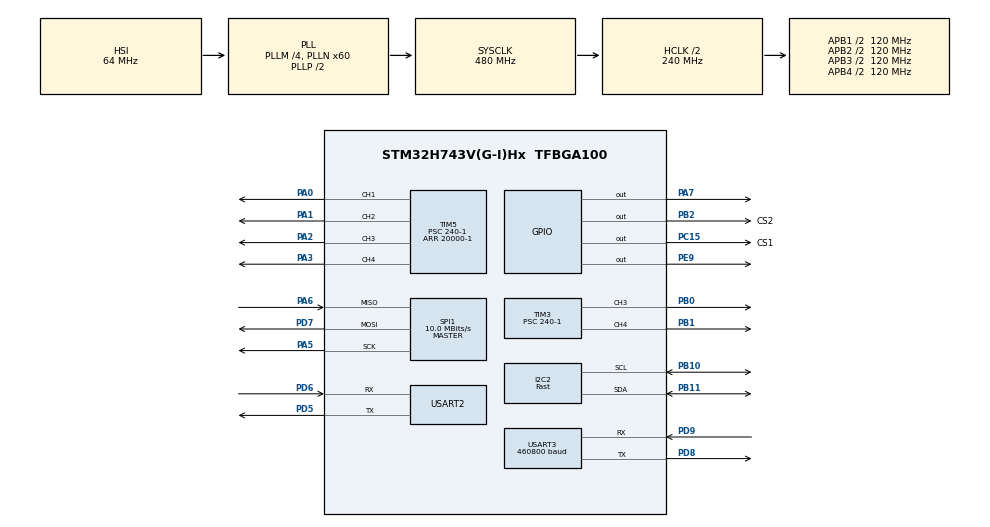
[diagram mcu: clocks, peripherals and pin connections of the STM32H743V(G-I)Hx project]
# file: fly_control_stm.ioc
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CORTEX_M7.default_mode_Activation=1
Dma.I2C2_RX.2.Direction=DMA_PERIPH_TO_MEMORY
Dma.I2C2_RX.2.EventEnable=DISABLE
Dma.I2C2_RX.2.FIFOMode=DMA_FIFOMODE_DISABLE
Dma.I2C2_RX.2.Instance=DMA1_Stream0
Dma.I2C2_RX.2.MemDataAlignment=DMA_MDATAALIGN_BYTE
Dma.I2C2_RX.2.MemInc=DMA_MINC_ENABLE
Dma.I2C2_RX.2.Mode=DMA_NORMAL
Dma.I2C2_RX.2.PeriphDataAlignment=DMA_PDATAALIGN_BYTE
Dma.I2C2_RX.2.PeriphInc=DMA_PINC_DISABLE
Dma.I2C2_RX.2.Polarity=HAL_DMAMUX_REQ_GEN_RISING
Dma.I2C2_RX.2.Priority=DMA_PRIORITY_MEDIUM
Dma.I2C2_RX.2.RequestNumber=1
Dma.I2C2_RX.2.SignalID=NONE
Dma.I2C2_RX.2.SyncEnable=DISABLE
Dma.I2C2_RX.2.SyncPolarity=HAL_DMAMUX_SYNC_NO_EVENT
Dma.I2C2_RX.2.SyncRequestNumber=1
Dma.I2C2_RX.2.SyncSignalID=NONE
Dma.I2C2_TX.3.Direction=DMA_MEMORY_TO_PERIPH
Dma.I2C2_TX.3.EventEnable=DISABLE
Dma.I2C2_TX.3.FIFOMode=DMA_FIFOMODE_DISABLE
Dma.I2C2_TX.3.Instance=DMA1_Stream1
Dma.I2C2_TX.3.MemDataAlignment=DMA_MDATAALIGN_BYTE
Dma.I2C2_TX.3.MemInc=DMA_MINC_ENABLE
Dma.I2C2_TX.3.Mode=DMA_NORMAL
Dma.I2C2_TX.3.PeriphDataAlignment=DMA_PDATAALIGN_BYTE
Dma.I2C2_TX.3.PeriphInc=DMA_PINC_DISABLE
Dma.I2C2_TX.3.Polarity=HAL_DMAMUX_REQ_GEN_RISING
Dma.I2C2_TX.3.Priority=DMA_PRIORITY_MEDIUM
Dma.I2C2_TX.3.RequestNumber=1
Dma.I2C2_TX.3.SignalID=NONE
Dma.I2C2_TX.3.SyncEnable=DISABLE
Dma.I2C2_TX.3.SyncPolarity=HAL_DMAMUX_SYNC_NO_EVENT
Dma.I2C2_TX.3.SyncRequestNumber=1
Dma.I2C2_TX.3.SyncSignalID=NONE
Dma.Request0=USART3_RX
Dma.Request1=USART3_TX
Dma.Request2=I2C2_RX
Dma.Request3=I2C2_TX
Dma.Request4=USART2_RX
Dma.USART2_RX.4.Direction=DMA_PERIPH_TO_MEMORY
Dma.USART2_RX.4.EventEnable=DISABLE
Dma.USART2_RX.4.FIFOMode=DMA_FIFOMODE_DISABLE
Dma.USART2_RX.4.Instance=DMA1_Stream2
Dma.USART2_RX.4.MemDataAlignment=DMA_MDATAALIGN_BYTE
Dma.USART2_RX.4.MemInc=DMA_MINC_ENABLE
Dma.USART2_RX.4.Mode=DMA_CIRCULAR
Dma.USART2_RX.4.PeriphDataAlignment=DMA_PDATAALIGN_BYTE
Dma.USART2_RX.4.PeriphInc=DMA_PINC_DISABLE
Dma.USART2_RX.4.Polarity=HAL_DMAMUX_REQ_GEN_RISING
Dma.USART2_RX.4.Priority=DMA_PRIORITY_HIGH
Dma.USART2_RX.4.RequestNumber=1
Dma.USART2_RX.4.SignalID=NONE
Dma.USART2_RX.4.SyncEnable=DISABLE
Dma.USART2_RX.4.SyncPolarity=HAL_DMAMUX_SYNC_NO_EVENT
Dma.USART2_RX.4.SyncRequestNumber=1
Dma.USART2_RX.4.SyncSignalID=NONE
Dma.USART3_RX.0.Direction=DMA_PERIPH_TO_MEMORY
Dma.USART3_RX.0.EventEnable=DISABLE
Dma.USART3_RX.0.FIFOMode=DMA_FIFOMODE_DISABLE
Dma.USART3_RX.0.Instance=DMA1_Stream5
Dma.USART3_RX.0.MemDataAlignment=DMA_MDATAALIGN_BYTE
Dma.USART3_RX.0.MemInc=DMA_MINC_ENABLE
Dma.USART3_RX.0.Mode=DMA_CIRCULAR
Dma.USART3_RX.0.PeriphDataAlignment=DMA_PDATAALIGN_BYTE
Dma.USART3_RX.0.PeriphInc=DMA_PINC_DISABLE
Dma.USART3_RX.0.Polarity=HAL_DMAMUX_REQ_GEN_RISING
Dma.USART3_RX.0.Priority=DMA_PRIORITY_VERY_HIGH
Dma.USART3_RX.0.RequestNumber=1
Dma.USART3_RX.0.SignalID=NONE
Dma.USART3_RX.0.SyncEnable=DISABLE
Dma.USART3_RX.0.SyncPolarity=HAL_DMAMUX_SYNC_NO_EVENT
Dma.USART3_RX.0.SyncRequestNumber=1
Dma.USART3_RX.0.SyncSignalID=NONE
Dma.USART3_TX.1.Direction=DMA_MEMORY_TO_PERIPH
Dma.USART3_TX.1.EventEnable=DISABLE
Dma.USART3_TX.1.FIFOMode=DMA_FIFOMODE_DISABLE
Dma.USART3_TX.1.Instance=DMA1_Stream6
Dma.USART3_TX.1.MemDataAlignment=DMA_MDATAALIGN_BYTE
Dma.USART3_TX.1.MemInc=DMA_MINC_ENABLE
Dma.USART3_TX.1.Mode=DMA_NORMAL
Dma.USART3_TX.1.PeriphDataAlignment=DMA_PDATAALIGN_BYTE
Dma.USART3_TX.1.PeriphInc=DMA_PINC_DISABLE
Dma.USART3_TX.1.Polarity=HAL_DMAMUX_REQ_GEN_RISING
Dma.USART3_TX.1.Priority=DMA_PRIORITY_LOW
Dma.USART3_TX.1.RequestNumber=1
Dma.USART3_TX.1.SignalID=NONE
Dma.USART3_TX.1.SyncEnable=DISABLE
Dma.USART3_TX.1.SyncPolarity=HAL_DMAMUX_SYNC_NO_EVENT
Dma.USART3_TX.1.SyncRequestNumber=1
Dma.USART3_TX.1.SyncSignalID=NONE
FREERTOS.Tasks01=defaultTask,0,128,StartDefaultTask,Default,NULL,Dynamic,NULL,NULL
I2C2.I2C_Speed_Mode=I2C_Fast
I2C2.Timing=0x00B03FDB
Mcu.Family=STM32H7
Mcu.Name=STM32H743V(G-I)Hx
Mcu.Package=TFBGA100
NVIC.DMA1_Stream0_IRQn=true\:5\:0\:false\:false\:true\:true\:false\:true\:true
NVIC.DMA1_Stream1_IRQn=true\:5\:0\:false\:false\:true\:true\:false\:true\:true
NVIC.DMA1_Stream2_IRQn=true\:5\:0\:false\:false\:true\:true\:false\:true\:true
NVIC.DMA1_Stream5_IRQn=true\:5\:0\:false\:false\:true\:true\:false\:true\:true
NVIC.DMA1_Stream6_IRQn=true\:5\:0\:false\:false\:true\:true\:false\:true\:true
NVIC.I2C2_ER_IRQn=true\:5\:0\:false\:false\:true\:true\:true\:true\:true
NVIC.I2C2_EV_IRQn=true\:5\:0\:false\:false\:true\:true\:true\:true\:true
NVIC.PriorityGroup=NVIC_PRIORITYGROUP_4
NVIC.TIM2_IRQn=true\:15\:0\:false\:false\:true\:false\:false\:true\:true
NVIC.TimeBase=TIM2_IRQn
NVIC.TimeBaseIP=TIM2
NVIC.USART2_IRQn=true\:5\:0\:false\:false\:true\:true\:true\:true\:true
NVIC.USART3_IRQn=true\:5\:0\:false\:false\:true\:true\:true\:true\:true
PA0.Signal=S_TIM5_CH1
PA1.Signal=S_TIM5_CH2
PA13\ (JTMS/SWDIO).Mode=Serial_Wire
PA13\ (JTMS/SWDIO).Signal=DEBUG_JTMS-SWDIO
PA14\ (JTCK/SWCLK).Mode=Serial_Wire
PA14\ (JTCK/SWCLK).Signal=DEBUG_JTCK-SWCLK
PA2.Signal=S_TIM5_CH3
PA3.Signal=S_TIM5_CH4
PA5.GPIO_Speed=GPIO_SPEED_FREQ_VERY_HIGH
PA5.Mode=Full_Duplex_Master
PA5.Signal=SPI1_SCK
PA6.GPIO_Speed=GPIO_SPEED_FREQ_VERY_HIGH
PA6.Mode=Full_Duplex_Master
PA6.Signal=SPI1_MISO
PA7.PinState=GPIO_PIN_SET
PA7.Signal=GPIO_Output
PB0.Signal=S_TIM3_CH3
PB1.Signal=S_TIM3_CH4
PB10.GPIO_Speed=GPIO_SPEED_FREQ_VERY_HIGH
PB10.Mode=I2C
PB10.Signal=I2C2_SCL
PB11.GPIO_Speed=GPIO_SPEED_FREQ_VERY_HIGH
PB11.Mode=I2C
PB11.Signal=I2C2_SDA
PB2.GPIO_Label=CS2
PB2.GPIO_PuPd=GPIO_PULLUP
PB2.GPIO_Speed=GPIO_SPEED_FREQ_HIGH
PB2.PinState=GPIO_PIN_SET
PB2.Signal=GPIO_Output
PC15-OSC32_OUT\ (OSC32_OUT).GPIO_Label=CS1
PC15-OSC32_OUT\ (OSC32_OUT).GPIO_PuPd=GPIO_PULLUP
PC15-OSC32_OUT\ (OSC32_OUT).GPIO_Speed=GPIO_SPEED_FREQ_LOW
PC15-OSC32_OUT\ (OSC32_OUT).PinState=GPIO_PIN_SET
PC15-OSC32_OUT\ (OSC32_OUT).Signal=GPIO_Output
PD5.Mode=Asynchronous
PD5.Signal=USART2_TX
PD6.Mode=Asynchronous
PD6.Signal=USART2_RX
PD7.GPIO_Speed=GPIO_SPEED_FREQ_VERY_HIGH
PD7.Mode=Full_Duplex_Master
PD7.Signal=SPI1_MOSI
PD8.GPIO_Speed=GPIO_SPEED_FREQ_VERY_HIGH
PD8.Mode=Asynchronous
PD8.Signal=USART3_TX
PD9.GPIO_Speed=GPIO_SPEED_FREQ_VERY_HIGH
PD9.Mode=Asynchronous
PD9.Signal=USART3_RX
PE9.PinState=GPIO_PIN_SET
PE9.Signal=GPIO_Output
PH0-OSC_IN\ (PH0).Mode=HSE-External-Oscillator
PH0-OSC_IN\ (PH0).Signal=RCC_OSC_IN
PH1-OSC_OUT\ (PH1).Mode=HSE-External-Oscillator
PH1-OSC_OUT\ (PH1).Signal=RCC_OSC_OUT
ProjectManager.HeapSize=0x200
ProjectManager.StackSize=0x400
ProjectManager.TargetToolchain=MDK-ARM V5.32
RCC.ADCFreq_Value=129000000
RCC.APB1Freq_Value=120000000
RCC.APB2Freq_Value=120000000
RCC.APB3Freq_Value=120000000
RCC.APB4Freq_Value=120000000
RCC.CortexFreq_Value=480000000
RCC.D1PPRE=RCC_APB3_DIV2
RCC.D2PPRE1=RCC_APB1_DIV2
RCC.D2PPRE2=RCC_APB2_DIV2
RCC.D3PPRE=RCC_APB4_DIV2
RCC.DIVM1=4
RCC.DIVN1=60
RCC.DIVN3=220
RCC.DIVQ1=6
RCC.HCLKFreq_Value=240000000
RCC.HPRE=RCC_HCLK_DIV2
RCC.HSE_VALUE=8000000
RCC.PLL2FRACN=0
RCC.PLL3FRACN=0
RCC.PLLFRACN=0
RCC.SYSCLKFreq_VALUE=480000000
RCC.SYSCLKSource=RCC_SYSCLKSOURCE_PLLCLK
RCC.USBFreq_Value=160000000
SH.S_TIM3_CH3.0=TIM3_CH3,PWM Generation3 CH3
SH.S_TIM3_CH4.0=TIM3_CH4,PWM Generation4 CH4
SH.S_TIM5_CH1.0=TIM5_CH1,PWM Generation1 CH1
SH.S_TIM5_CH2.0=TIM5_CH2,PWM Generation2 CH2
SH.S_TIM5_CH3.0=TIM5_CH3,PWM Generation3 CH3
SH.S_TIM5_CH4.0=TIM5_CH4,PWM Generation4 CH4
SPI1.BaudRatePrescaler=SPI_BAUDRATEPRESCALER_16
SPI1.CLKPhase=SPI_PHASE_1EDGE
SPI1.CLKPolarity=SPI_POLARITY_LOW
SPI1.CalculateBaudRate=10.0 MBits/s
SPI1.DataSize=SPI_DATASIZE_8BIT
SPI1.Direction=SPI_DIRECTION_2LINES
SPI1.Mode=SPI_MODE_MASTER
SPI1.VirtualType=VM_MASTER
TIM3.Channel-PWM\ Generation3\ CH3=TIM_CHANNEL_3
TIM3.Channel-PWM\ Generation4\ CH4=TIM_CHANNEL_4
TIM3.Period=20000-1
TIM3.Prescaler=240-1
TIM5.Channel-PWM\ Generation1\ CH1=TIM_CHANNEL_1
TIM5.Channel-PWM\ Generation2\ CH2=TIM_CHANNEL_2
TIM5.Channel-PWM\ Generation3\ CH3=TIM_CHANNEL_3
TIM5.Channel-PWM\ Generation4\ CH4=TIM_CHANNEL_4
TIM5.Period=20000-1
TIM5.Prescaler=240-1
USART2.VirtualMode-Asynchronous=VM_ASYNC
USART3.BaudRate=460800
USART3.VirtualMode-Asynchronous=VM_ASYNC
VP_FREERTOS_VS_CMSIS_V1.Mode=CMSIS_V1
VP_MEMORYMAP_VS_MEMORYMAP.Mode=CurAppReg
VP_SYS_VS_tim2.Mode=TIM2
board=custom

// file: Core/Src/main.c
/* USER CODE BEGIN Header */
/**
  ******************************************************************************
  * @file           : main.c
  * @brief          : Main program body
  ******************************************************************************
  * @attention
  *
  * Copyright (c) 2025 STMicroelectronics.
  * All rights reserved.
  *
  * This software is licensed under terms that can be found in the LICENSE file
  * in the root directory of this software component.
  * If no LICENSE file comes with this software, it is provided AS-IS.
  *
  ******************************************************************************
  */
/* USER CODE END Header */
#include "main.h"
#include "cmsis_os.h"
#include "dma.h"
#include "i2c.h"
#include "spi.h"
#include "tim.h"
#include "usart.h"
#include "gpio.h"

/* USER CODE BEGIN Includes */
#include <math.h>
#include "bmi088_mm.h"
#include "common.h"
#include "string.h"
#include "spl06.h"
#include "mavlink.h"
#include "common.h"
/* USER CODE END Includes */

void SystemClock_Config(void);
static void MPU_Config(void);
void MX_FREERTOS_Init(void);
/* USER CODE BEGIN PFP */
void HAL_Delay_us_init(uint16_t SYSCLK);

/* USER CODE END PFP */

/* USER CODE BEGIN 0 */

int test_num=0;//观察程序循环运行状态
int error_id=0;//代替printf，寻找错误位置
int test_flag=5;//代替init中的rslt
int test_pwm=1000;
int pwm_flag=0;
int tim_5_1_test=0;
int tim_5_2_test=0;
int tim_5_3_test=0;
int tim_5_4_test=0;
/* USER CODE END 0 */

int main(void)
{

  /* MPU Configuration--------------------------------------------------------*/
  MPU_Config();

  /* MCU Configuration--------------------------------------------------------*/

  /* Reset of all peripherals, Initializes the Flash interface and the Systick. */
  HAL_Init();

  /* Configure the system clock */
  SystemClock_Config();

  /* USER CODE BEGIN SysInit */
   HAL_Delay_us_init(480);//给IMU用的延时
  /* USER CODE END SysInit */

  /* Initialize all configured peripherals */
  MX_GPIO_Init();
  MX_DMA_Init();
  MX_TIM5_Init();
  MX_SPI1_Init();
  MX_USART3_UART_Init();
  MX_TIM3_Init();
  MX_I2C2_Init();
  MX_USART2_UART_Init();
  /* USER CODE BEGIN 2 */
  Mavlink_Init();//初始化串口DMA以及环形缓冲区

  /* USER CODE BEGIN 2 */

     HAL_TIM_PWM_Start(&htim5, TIM_CHANNEL_1);
	 HAL_TIM_PWM_Start(&htim5, TIM_CHANNEL_2);
	 HAL_TIM_PWM_Start(&htim5, TIM_CHANNEL_3);
	 HAL_TIM_PWM_Start(&htim5, TIM_CHANNEL_4);
	 HAL_TIM_PWM_Start(&htim3, TIM_CHANNEL_3);
	 HAL_TIM_PWM_Start(&htim3, TIM_CHANNEL_4);
	 HAL_GPIO_WritePin(GPIOE,GPIO_PIN_9,GPIO_PIN_RESET);
     __HAL_TIM_SetCompare(&htim3, TIM_CHANNEL_3, test_pwm);
	 __HAL_TIM_SetCompare(&htim3, TIM_CHANNEL_4, test_pwm);
	__HAL_TIM_SetCompare(&htim5, TIM_CHANNEL_1, 900);
	__HAL_TIM_SetCompare(&htim5, TIM_CHANNEL_2, 900);//初始舵机角度
	__HAL_TIM_SetCompare(&htim5, TIM_CHANNEL_3, 900);
	 	/* Initialize the sensors */

  /* USER CODE END 2 */

  /* Call init function for freertos objects (in cmsis_os2.c) */
  MX_FREERTOS_Init();

  /* Start scheduler */
  osKernelStart();

  /* We should never get here as control is now taken by the scheduler */

  /* Infinite loop */
  while (1)
  {

    /* USER CODE BEGIN 3 */
     __HAL_TIM_SetCompare(&htim5, TIM_CHANNEL_1, tim_5_1_test);    //pa0       you
	 __HAL_TIM_SetCompare(&htim5, TIM_CHANNEL_2, tim_5_2_test);       //pa1       zuo
	// __HAL_TIM_SetCompare(&htim5, TIM_CHANNEL_3, tim_5_3_test);       //pa2  zhong
	 //__HAL_TIM_SetCompare(&htim5, TIM_CHANNEL_4, tim_5_4_test);        //pa3
	//__HAL_TIM_SetCompare(&htim5, TIM_CHANNEL_2, test_num);
	 //__HAL_TIM_SetCompare(&htim3, TIM_CHANNEL_3, test_pwm);
	 //__HAL_TIM_SetCompare(&htim3, TIM_CHANNEL_4, test_pwm);
     		HAL_Delay(100);
	//  pitch 850为中值，大于850数值为向内
	//  yaw   900为中值，大于900顺时针转
  }
  /* USER CODE END 3 */
}

void SystemClock_Config(void)
{
  RCC_OscInitTypeDef RCC_OscInitStruct = {0};
  RCC_ClkInitTypeDef RCC_ClkInitStruct = {0};

  /** Supply configuration update enable
  */
  HAL_PWREx_ConfigSupply(PWR_LDO_SUPPLY);

  /** Configure the main internal regulator output voltage
  */
  __HAL_PWR_VOLTAGESCALING_CONFIG(PWR_REGULATOR_VOLTAGE_SCALE0);

  while(!__HAL_PWR_GET_FLAG(PWR_FLAG_VOSRDY)) {}

  /** Initializes the RCC Oscillators according to the specified parameters
  * in the RCC_OscInitTypeDef structure.
  */
  RCC_OscInitStruct.OscillatorType = RCC_OSCILLATORTYPE_HSI;
  RCC_OscInitStruct.HSIState = RCC_HSI_DIV1;
  RCC_OscInitStruct.HSICalibrationValue = RCC_HSICALIBRATION_DEFAULT;
  RCC_OscInitStruct.PLL.PLLState = RCC_PLL_ON;
  RCC_OscInitStruct.PLL.PLLSource = RCC_PLLSOURCE_HSI;
  RCC_OscInitStruct.PLL.PLLM = 4;
  RCC_OscInitStruct.PLL.PLLN = 60;
  RCC_OscInitStruct.PLL.PLLP = 2;
  RCC_OscInitStruct.PLL.PLLQ = 6;
  RCC_OscInitStruct.PLL.PLLR = 2;
  RCC_OscInitStruct.PLL.PLLRGE = RCC_PLL1VCIRANGE_3;
  RCC_OscInitStruct.PLL.PLLVCOSEL = RCC_PLL1VCOWIDE;
  RCC_OscInitStruct.PLL.PLLFRACN = 0;
  if (HAL_RCC_OscConfig(&RCC_OscInitStruct) != HAL_OK)
  {
    Error_Handler();
  }

  /** Initializes the CPU, AHB and APB buses clocks
  */
  RCC_ClkInitStruct.ClockType = RCC_CLOCKTYPE_HCLK|RCC_CLOCKTYPE_SYSCLK
                              |RCC_CLOCKTYPE_PCLK1|RCC_CLOCKTYPE_PCLK2
                              |RCC_CLOCKTYPE_D3PCLK1|RCC_CLOCKTYPE_D1PCLK1;
  RCC_ClkInitStruct.SYSCLKSource = RCC_SYSCLKSOURCE_PLLCLK;
  RCC_ClkInitStruct.SYSCLKDivider = RCC_SYSCLK_DIV1;
  RCC_ClkInitStruct.AHBCLKDivider = RCC_HCLK_DIV2;
  RCC_ClkInitStruct.APB3CLKDivider = RCC_APB3_DIV2;
  RCC_ClkInitStruct.APB1CLKDivider = RCC_APB1_DIV2;
  RCC_ClkInitStruct.APB2CLKDivider = RCC_APB2_DIV2;
  RCC_ClkInitStruct.APB4CLKDivider = RCC_APB4_DIV2;

  if (HAL_RCC_ClockConfig(&RCC_ClkInitStruct, FLASH_LATENCY_4) != HAL_OK)
  {
    Error_Handler();
  }
}

 /* MPU Configuration */

void MPU_Config(void)
{
  MPU_Region_InitTypeDef MPU_InitStruct = {0};

  /* Disables the MPU */
  HAL_MPU_Disable();

  /** Initializes and configures the Region and the memory to be protected
  */
  MPU_InitStruct.Enable = MPU_REGION_ENABLE;
  MPU_InitStruct.Number = MPU_REGION_NUMBER0;
  MPU_InitStruct.BaseAddress = 0x0;
  MPU_InitStruct.Size = MPU_REGION_SIZE_4GB;
  MPU_InitStruct.SubRegionDisable = 0x87;
  MPU_InitStruct.TypeExtField = MPU_TEX_LEVEL0;
  MPU_InitStruct.AccessPermission = MPU_REGION_NO_ACCESS;
  MPU_InitStruct.DisableExec = MPU_INSTRUCTION_ACCESS_DISABLE;
  MPU_InitStruct.IsShareable = MPU_ACCESS_SHAREABLE;
  MPU_InitStruct.IsCacheable = MPU_ACCESS_NOT_CACHEABLE;
  MPU_InitStruct.IsBufferable = MPU_ACCESS_NOT_BUFFERABLE;

  HAL_MPU_ConfigRegion(&MPU_InitStruct);
  /* Enables the MPU */
  HAL_MPU_Enable(MPU_PRIVILEGED_DEFAULT);

}

void HAL_TIM_PeriodElapsedCallback(TIM_HandleTypeDef *htim)
{
  if (htim->Instance == TIM2)
  {
    HAL_IncTick();
  }
}

void Error_Handler(void)
{
  __disable_irq();
  while (1)
  {
  }
}

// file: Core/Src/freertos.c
/* USER CODE BEGIN Header */
/**
  ******************************************************************************
  * File Name          : freertos.c
  * Description        : Code for freertos applications
  ******************************************************************************
  * @attention
  *
  * Copyright (c) 2026 STMicroelectronics.
  * All rights reserved.
  *
  * This software is licensed under terms that can be found in the LICENSE file
  * in the root directory of this software component.
  * If no LICENSE file comes with this software, it is provided AS-IS.
  *
  ******************************************************************************
  */
/* USER CODE END Header */

#include "FreeRTOS.h"
#include "task.h"
#include "main.h"
#include "cmsis_os.h"

/* USER CODE BEGIN Includes */
#include "INS_task.h"
#include "flow_rx.h"
#include "Aircraft_ctrl_task.h"
#include "common/mavlink.h"
/* USER CODE END Includes */

/* USER CODE BEGIN PTD */
osThreadId imuTaskHandle;//����IMU���
osThreadId fly_ctrlTaskHandle;//����IMU���
#if (CURRENT_RC_PROTOCOL == RC_PROTOCOL_MAVLINK)
osThreadId mavlinkTaskHandle;
#else

#endif
/* USER CODE END PTD */

osThreadId defaultTaskHandle;

void StartDefaultTask(void const * argument);

void MX_FREERTOS_Init(void); /* (MISRA C 2004 rule 8.1) */

/* GetIdleTaskMemory prototype (linked to static allocation support) */
void vApplicationGetIdleTaskMemory( StaticTask_t **ppxIdleTaskTCBBuffer, StackType_t **ppxIdleTaskStackBuffer, uint32_t *pulIdleTaskStackSize );

/* USER CODE BEGIN GET_IDLE_TASK_MEMORY */
static StaticTask_t xIdleTaskTCBBuffer;
static StackType_t xIdleStack[configMINIMAL_STACK_SIZE];

void vApplicationGetIdleTaskMemory( StaticTask_t **ppxIdleTaskTCBBuffer, StackType_t **ppxIdleTaskStackBuffer, uint32_t *pulIdleTaskStackSize )
{
  *ppxIdleTaskTCBBuffer = &xIdleTaskTCBBuffer;
  *ppxIdleTaskStackBuffer = &xIdleStack[0];
  *pulIdleTaskStackSize = configMINIMAL_STACK_SIZE;
  /* place for user code */
}
/* USER CODE END GET_IDLE_TASK_MEMORY */

void MX_FREERTOS_Init(void) {

  /* Create the thread(s) */
  /* definition and creation of defaultTask */
  osThreadDef(defaultTask, StartDefaultTask, osPriorityNormal, 0, 128);
  defaultTaskHandle = osThreadCreate(osThread(defaultTask), NULL);

  /* USER CODE BEGIN RTOS_THREADS */
  osThreadDef(FLOW_RX, flow_rx_task, osPriorityNormal, 0, 512);
  if (osThreadCreate(osThread(FLOW_RX), NULL) == NULL) Error_Handler();
  /* add threads, ... */
  	osThreadDef(INS, INS_task, osPriorityHigh, 0, 256);
  imuTaskHandle = osThreadCreate(osThread(INS), NULL);

	osThreadDef(FLY_CTRL, Aircraft_ctrl_task, osPriorityNormal, 0, 256);
  fly_ctrlTaskHandle = osThreadCreate(osThread(FLY_CTRL), NULL);

#if (CURRENT_RC_PROTOCOL == RC_PROTOCOL_MAVLINK)
   osThreadDef(MAV_LINK, mavlink_task, osPriorityNormal, 0, 768);
   mavlinkTaskHandle = osThreadCreate(osThread(MAV_LINK), NULL);
#else

#endif
  /* USER CODE END RTOS_THREADS */

}

void StartDefaultTask(void const * argument)
{
  for(;;)
  {
    osDelay(1);
  }
}
